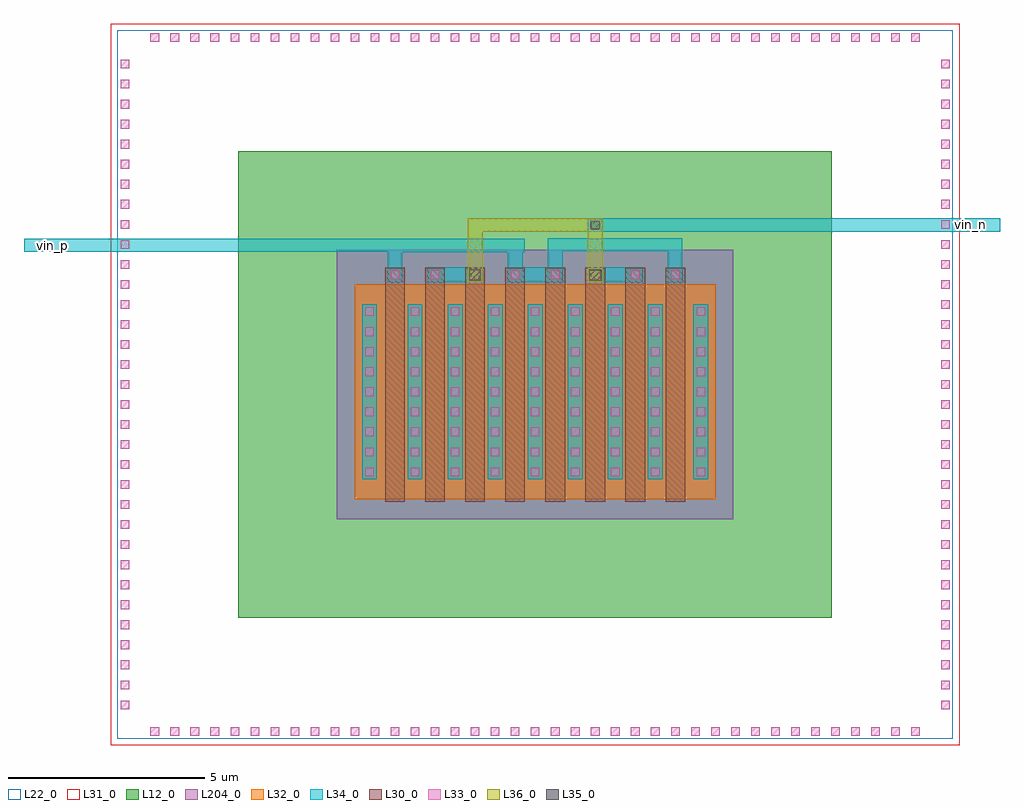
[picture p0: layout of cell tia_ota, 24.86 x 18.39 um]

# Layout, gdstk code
import gdstk
lib = gdstk.Library(unit=1e-6, precision=1e-09)
def R(c, l, rs):  # rectangles x0, y0, x1, y1
    for r in rs: c.add(gdstk.rectangle(r[:2], r[2:], *l))
def A(c, l, x, y, w, h, nx, ny, dx, dy):  # array of equal rectangles
    R(c, l, [(x+i*dx, y+j*dy, x+i*dx+w, y+j*dy+h) for i in range(nx) for j in range(ny)])
L12_0 = (12, 0)
L22_0 = (22, 0)
L30_0 = (30, 0)
L31_0 = (31, 0)
L32_0 = (32, 0)
L33_0 = (33, 0)
L34_0 = (34, 0)
L35_0 = (35, 0)
L36_0 = (36, 0)
L204_0 = (204, 0)

nfet = lib.new_cell('nfet')
R(nfet, L12_0, [(-3.55,-3.26,11.57,8.63)])
R(nfet, L22_0, [(-6.63,-6.34,14.65,11.71), (-0.42,0,8.44,5)])
A(nfet, L30_0, 0.19, -0.3, 0.5, 5.96, 8, 1, 1.02, 0)
R(nfet, L31_0, [(-6.8,-6.51,14.82,11.88)])
R(nfet, L32_0, [(-0.59,-0.24,8.61,5.24)])
A(nfet, L33_0, -5.79, -6.26, 0.22, 0.22, 39, 2, 0.51, 17.67)
A(nfet, L33_0, -6.55, -5.585, 0.22, 0.22, 1, 33, 0, 0.51)
A(nfet, L33_0, 14.35, -5.585, 0.22, 0.22, 1, 33, 0, 0.51)
A(nfet, L33_0, -0.32, 0.35, 0.22, 0.22, 1, 9, 0, 0.51)
A(nfet, L33_0, 0.84, 0.35, 0.22, 0.22, 7, 9, 1.02, 0.51)
A(nfet, L33_0, 8.12, 0.35, 0.22, 0.22, 1, 9, 0, 0.51)
A(nfet, L33_0, 0.33, 5.37, 0.22, 0.22, 8, 1, 1.02, 0)
A(nfet, L34_0, 0.76, 0.27, 0.38, 4.46, 7, 1, 1.02, 0)
A(nfet, L34_0, 0.25, 5.29, 0.38, 0.38, 8, 1, 1.02, 0)
R(nfet, L34_0, [(-0.4,0.27,-0.02,4.73), (8.04,0.27,8.42,4.73)])
R(nfet, L204_0, [(-1.04,-0.75,9.06,6.12)])

tia_ota = lib.new_cell('tia_ota')
A(tia_ota, L34_0, 2.45, 6.39, 1.4, 0.38, 3, 1, 2.04, 0)
R(tia_ota, L34_0, [(1.43,6.39,1.81,7.5), (4.49,6.39,4.87,7.5), (5.51,6.39,5.89,7.51), (8.57,6.39,8.94,7.51), (1.43,7.15,4.92,7.5), (-7.83,7.16,1.81,7.5), (5.51,7.18,8.94,7.51), (6.53,7.68,17.03,8.02)])
R(tia_ota, L35_0, [(3.51,6.43,3.81,6.72), (6.57,6.43,6.87,6.71), (6.6,7.74,6.84,7.94)])
R(tia_ota, L36_0, [(3.47,6.39,3.85,8.02), (6.53,6.39,6.91,8.02), (3.47,7.68,6.91,8.02)])
tia_ota.add(gdstk.Reference(nfet, (1.18,1.1)))
tia_ota.add(gdstk.Label('vin_n', (16.28,7.87), layer=34, texttype=10))
tia_ota.add(gdstk.Label('vin_p', (-7.11,7.32), layer=34, texttype=10))

lib.write_gds('tia_ota.gds')
